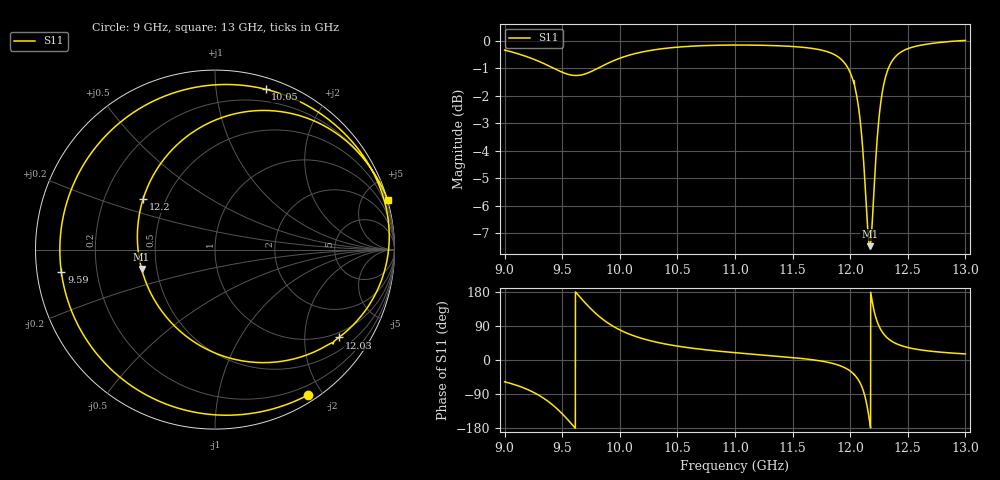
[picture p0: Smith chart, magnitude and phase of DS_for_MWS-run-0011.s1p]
! TOUCHSTONE file generated by CST DESIGN STUDIO
! Date and time: Wed Feb  5 13:40:41 2025
! Project name: C:\Work\MatlabApps\UnitCellOptimizationMatlab\CST\unitcell.cst
! Tree item: Tasks\Sweep1\SPara1\S-Parameters
! Header version: 2024
! Port assignment regex: !\s*Touchstone port\s*([0-9]+)\s*=\s*(CST MWS port|CST DES external port|CST DES block port)\s*(.+)\s* \(\"(.*)\"\)(\s*mode\s*([0-9]+))?.*
! Touchstone port assignment:
! Touchstone port 1 = CST DES external port 1 ("")
# GHz S MA R 50
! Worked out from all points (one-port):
!   4001 points, 9 GHz to 13 GHz, reference 50 ohm
!   lowest |S11| = -7.5 dB at 12.17 GHz (marker M1), VSWR 2.47, Z = 20.6 - j5.42 ohm
!   |S11| at or under -10 dB: nowhere
!   S11 on the Smith chart (normalised r, x): 9 GHz: 0.08, -1.82; 9.59 GHz: 0.07, -0.07; 10.05 GHz: 0.09, +1.36; 12.03 GHz: 0.85, -2.92; 12.2 GHz: 0.37, +0.28; 13 GHz: -0.03, +7.12
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9  0.9616 -57.4
9.166  0.9396 -73.7
9.317  0.9135 -96.7
9.414  0.8936 -117.9
9.5  0.8764 -141.9
9.59  0.8653 -171.7
9.679  0.8677 157.5
9.789  0.8867 123.5
9.883  0.9072 100.5
10  0.9293 79.4
10.049  0.9369 72.5
10.245  0.9585 52.4
10.5  0.9734 36.7
11  0.9821 19.3
11.5  0.9761 6.5
11.811  0.9536 -6.4
12  0.8752 -29.0
12.025  0.8463 -35.3
12.07  0.763 -51.9
12.112  0.6229 -79.5
12.14  0.4994 -111.5
12.17  0.423 -165.2
12.197  0.4902 144.7
12.234  0.662 101.5
12.275  0.7976 75.4
12.364  0.9186 48.9
12.5  0.9673 33.0
13  1.001 16.0
